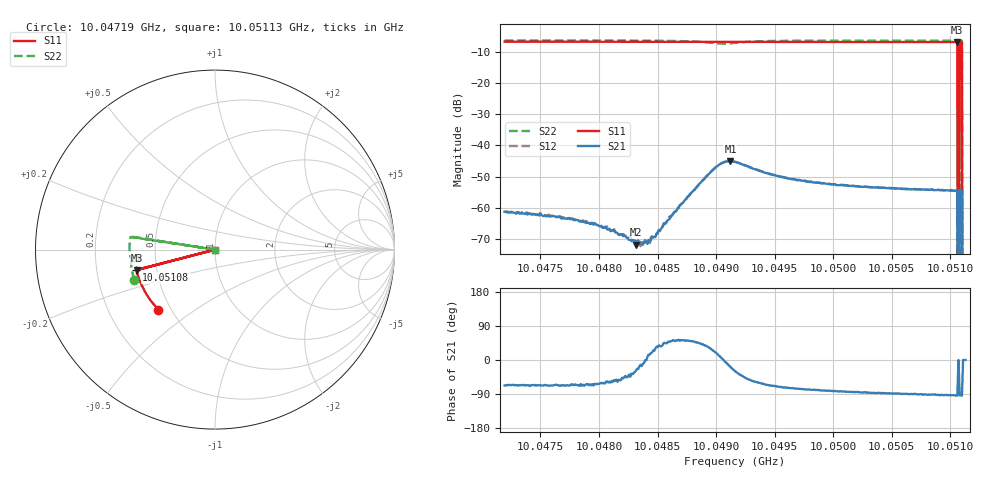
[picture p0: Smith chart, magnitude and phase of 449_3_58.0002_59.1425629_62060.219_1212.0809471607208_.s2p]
#  HZ  S  RI  R  50.00
! Rohde & Schwarz Vector Network Analyzer
! Rohde-Schwarz,ZNB20-2Port,1311601062101988,3.16
! Created: UTC 3/21/2024, 1:10:23 AM
! freq[Hz]  re:S11  im:S11  re:S21  im:S21  re:S12  im:S12  re:S22  im:S22
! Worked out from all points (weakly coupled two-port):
!   401 points, 10.04719 GHz to 10.05113 GHz, reference 50 ohm
!   highest |S21| = -45.02 dB at 10.04912 GHz (marker M1); lowest = -71.8 dB at 10.04832 GHz (marker M2)
!   lowest |S11| = -6.9 dB at 10.05106 GHz (marker M3), VSWR 2.65, Z = 19.1 - j5.55 ohm
!   |S11| at or under -10 dB: 10.05106 GHz to 10.05108 GHz (19.36 kHz wide, 0.000193 % of centre); 10.0511 GHz to end of sweep
!   |S22| runs from - to -6.4 dB; largest |S21 - S12| = 0.00039
!   S11 on the Smith chart (normalised r, x): 10.04719 GHz: 0.43, -0.36; 10.05108 GHz: 0.38, -0.11; 10.05113 GHz: 1.00, +0.00
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1.0047194e10  -0.3148 -0.3341  0.000338 -0.000801  0.000437 -0.000773  -0.449 -0.1684
1.0047853e10  -0.344 -0.3017  0.000229 -0.000558  0.000292 -0.000536  -0.4612 -0.1246
1.0048069e10  -0.353 -0.2906  0.000254 -0.000378  0.000287 -0.000417  -0.4646 -0.1094
1.0048315e10  -0.3626 -0.2776  0.000227 -0.00012  0.00025 -0.000106  -0.4671 -0.091
1.0048394e10  -0.3656 -0.2734  0.000279 -2.95e-06  0.000307 7.65e-06  -0.4675 -0.0846
1.0048433e10  -0.3671 -0.2713  0.000292 7.52e-05  0.000261 4.86e-05  -0.4675 -0.0814
1.0048512e10  -0.3701 -0.267  0.000347 0.000275  0.000366 0.000257  -0.4675 -0.0746
1.0048611e10  -0.3736 -0.2616  0.00046 0.000536  0.000448 0.000587  -0.4667 -0.0658
1.0048955e10  -0.3854 -0.2421  0.0033 0.00185  0.00317 0.00207  -0.4401 -0.0347
1.0049043e10  -0.3882 -0.2374  0.00513 0.000527  0.00511 0.000886  -0.4247 -0.0442
1.0049122e10  -0.3906 -0.2331  0.00532 -0.00179  0.00546 -0.00144  -0.4265 -0.0615
1.0049161e10  -0.3919 -0.2309  0.00475 -0.00267  0.00497 -0.00237  -0.4333 -0.0668
1.0049486e10  -0.4021 -0.2121  0.00127 -0.00314  0.00144 -0.00306  -0.4688 -0.0457
1.0049821e10  -0.4115 -0.1923  0.000512 -0.00253  0.000646 -0.00255  -0.4751 -0.0168
1.005048e10  -0.427 -0.1518  8.14e-05 -0.00207  0.000178 -0.0021  -0.4754 0.0313
1.005104e10  -0.4371 -0.1165  -0.000114 -0.00188  -1.02e-05 -0.00189  -0.4711 0.0694
1.005105e10  -0.4372 -0.1159  -0.000109 -0.00188  -1.62e-05 -0.0019  -0.4712 0.0698
1.005106e10  -0.4372 -0.1154  -0.000126 -0.0019  -3.14e-05 -0.00189  -0.4709 0.0705
1.005108e10  -0.4377 -0.114  -0.000113 -0.0019  -1.12e-05 -0.00192  -0.4708 0.0717
1.005109e10  -0.4378 -0.1136  -9.59e-05 -0.00188  -2.18e-05 -0.0019  -0.4707 0.0725
1.0051099e10  -0.438 -0.1129  -0.000142 -0.0019  -3.83e-05 -0.0019  -0.4704 0.0731
1.0051129e10  0 0  0 0  0 0  0 0
